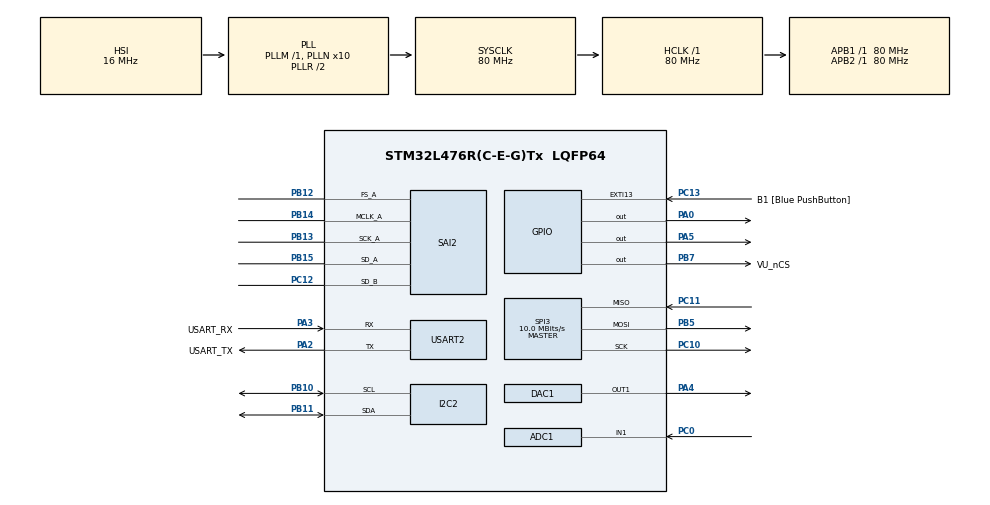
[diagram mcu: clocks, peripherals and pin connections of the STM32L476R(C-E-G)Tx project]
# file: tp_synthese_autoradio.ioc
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ADC1.Channel-0\#ChannelRegularConversion=ADC_CHANNEL_1
ADC1.NbrOfConversionFlag=1
ADC1.OffsetNumber-0\#ChannelRegularConversion=ADC_OFFSET_NONE
ADC1.Rank-0\#ChannelRegularConversion=1
ADC1.SamplingTime-0\#ChannelRegularConversion=ADC_SAMPLETIME_2CYCLES_5
ADC1.master=1
Dma.Request0=SAI2_A
Dma.Request1=SAI2_B
Dma.SAI2_A.0.Direction=DMA_MEMORY_TO_PERIPH
Dma.SAI2_A.0.Instance=DMA1_Channel6
Dma.SAI2_A.0.MemDataAlignment=DMA_MDATAALIGN_WORD
Dma.SAI2_A.0.MemInc=DMA_MINC_ENABLE
Dma.SAI2_A.0.Mode=DMA_CIRCULAR
Dma.SAI2_A.0.PeriphDataAlignment=DMA_PDATAALIGN_WORD
Dma.SAI2_A.0.PeriphInc=DMA_PINC_DISABLE
Dma.SAI2_A.0.Priority=DMA_PRIORITY_LOW
Dma.SAI2_B.1.Direction=DMA_PERIPH_TO_MEMORY
Dma.SAI2_B.1.Instance=DMA1_Channel7
Dma.SAI2_B.1.MemDataAlignment=DMA_MDATAALIGN_WORD
Dma.SAI2_B.1.MemInc=DMA_MINC_ENABLE
Dma.SAI2_B.1.Mode=DMA_CIRCULAR
Dma.SAI2_B.1.PeriphDataAlignment=DMA_PDATAALIGN_WORD
Dma.SAI2_B.1.PeriphInc=DMA_PINC_DISABLE
Dma.SAI2_B.1.Priority=DMA_PRIORITY_LOW
FREERTOS.Tasks01=defaultTask,0,128,StartDefaultTask,Default,NULL,Dynamic,NULL,NULL
FREERTOS.configTOTAL_HEAP_SIZE=20000
FREERTOS.configUSE_NEWLIB_REENTRANT=1
I2C2.Timing=0x10D19CE4
Mcu.Family=STM32L4
Mcu.Name=STM32L476R(C-E-G)Tx
Mcu.Package=LQFP64
NVIC.DMA1_Channel6_IRQn=true\:5\:0\:false\:false\:true\:true\:false\:true\:true
NVIC.DMA1_Channel7_IRQn=true\:5\:0\:false\:false\:true\:true\:false\:true\:true
NVIC.PriorityGroup=NVIC_PRIORITYGROUP_4
NVIC.SAI2_IRQn=true\:5\:0\:false\:false\:true\:true\:true\:true\:true
NVIC.TIM6_DAC_IRQn=true\:5\:0\:false\:false\:true\:true\:false\:true\:true
NVIC.TimeBase=TIM6_DAC_IRQn
NVIC.TimeBaseIP=TIM6
NVIC.USART2_IRQn=true\:5\:0\:false\:false\:true\:true\:true\:true\:true
PA0.Signal=GPIO_Output
PA13\ (JTMS-SWDIO).GPIO_Label=TMS
PA13\ (JTMS-SWDIO).Mode=Serial_Wire
PA13\ (JTMS-SWDIO).Signal=SYS_JTMS-SWDIO
PA14\ (JTCK-SWCLK).GPIO_Label=TCK
PA14\ (JTCK-SWCLK).Mode=Serial_Wire
PA14\ (JTCK-SWCLK).Signal=SYS_JTCK-SWCLK
PA2.GPIO_Label=USART_TX
PA2.GPIO_Mode=GPIO_MODE_AF_PP
PA2.GPIO_PuPd=GPIO_NOPULL
PA2.GPIO_Speed=GPIO_SPEED_FREQ_VERY_HIGH
PA2.Mode=Asynchronous
PA2.Signal=USART2_TX
PA3.GPIO_Label=USART_RX
PA3.GPIO_Mode=GPIO_MODE_AF_PP
PA3.GPIO_PuPd=GPIO_NOPULL
PA3.GPIO_Speed=GPIO_SPEED_FREQ_VERY_HIGH
PA3.Mode=Asynchronous
PA3.Signal=USART2_RX
PA4.Signal=COMP_DAC11_group
PA5.Signal=GPIO_Output
PB10.Mode=I2C
PB10.Signal=I2C2_SCL
PB11.Mode=I2C
PB11.Signal=I2C2_SDA
PB12.Mode=SAI_A_MasterWithClock
PB12.Signal=SAI2_FS_A
PB13.Mode=SAI_A_MasterWithClock
PB13.Signal=SAI2_SCK_A
PB14.Mode=SAI_A_MasterWithClock
PB14.Signal=SAI2_MCLK_A
PB15.Mode=SAI_A_MasterWithClock
PB15.Signal=SAI2_SD_A
PB3\ (JTDO-TRACESWO).GPIO_Label=SWO
PB3\ (JTDO-TRACESWO).Signal=SYS_JTDO-SWO
PB5.Mode=Full_Duplex_Master
PB5.Signal=SPI3_MOSI
PB7.GPIO_Label=VU_nCS
PB7.PinState=GPIO_PIN_SET
PB7.Signal=GPIO_Output
PC0.Signal=ADCx_IN1
PC10.Mode=Full_Duplex_Master
PC10.Signal=SPI3_SCK
PC11.Mode=Full_Duplex_Master
PC11.Signal=SPI3_MISO
PC12.Mode=SAI_B_SyncSlave
PC12.Signal=SAI2_SD_B
PC13.GPIO_Label=B1 [Blue PushButton]
PC13.GPIO_ModeDefaultEXTI=GPIO_MODE_IT_FALLING
PC13.GPIO_PuPd=GPIO_NOPULL
PC13.Signal=GPXTI13
PC14-OSC32_IN\ (PC14).Mode=LSE-External-Oscillator
PC14-OSC32_IN\ (PC14).Signal=RCC_OSC32_IN
PC15-OSC32_OUT\ (PC15).Mode=LSE-External-Oscillator
PC15-OSC32_OUT\ (PC15).Signal=RCC_OSC32_OUT
PH0-OSC_IN\ (PH0).Signal=RCC_OSC_IN
PH1-OSC_OUT\ (PH1).Signal=RCC_OSC_OUT
ProjectManager.HeapSize=0x200
ProjectManager.StackSize=0x400
ProjectManager.TargetToolchain=STM32CubeIDE
RCC.ADCFreq_Value=104000000
RCC.AHBFreq_Value=80000000
RCC.APB1Freq_Value=80000000
RCC.APB1TimFreq_Value=80000000
RCC.APB2Freq_Value=80000000
RCC.APB2TimFreq_Value=80000000
RCC.CortexFreq_Value=80000000
RCC.HCLKFreq_Value=80000000
RCC.HSE_VALUE=8000000
RCC.HSI_VALUE=16000000
RCC.MSI_VALUE=4000000
RCC.PLLN=10
RCC.PLLSAI1N=13
RCC.PLLSAI1P=RCC_PLLP_DIV17
RCC.PLLSourceVirtual=RCC_PLLSOURCE_HSI
RCC.PREFETCH_ENABLE=1
RCC.SYSCLKFreq_VALUE=80000000
RCC.SYSCLKSource=RCC_SYSCLKSOURCE_PLLCLK
RCC.USBFreq_Value=104000000
RCC.VCOOutputFreq_Value=160000000
SAI2.AudioFrequency-SAI_A_MasterWithClock=SAI_AUDIO_FREQUENCY_48K
SAI2.ErrorAudioFreq-SAI_A_MasterWithClock=-0.42 %
SAI2.InitProtocol-SAI_A_MasterWithClock=Enable
SAI2.InitProtocol-SAI_B_SyncSlave=Enable
SAI2.Instance-SAI_A_MasterWithClock=SAI$Index_Block_A
SAI2.Instance-SAI_B_SyncSlave=SAI$Index_Block_B
SAI2.MClockEnable-SAI_A_MasterWithClock=SAI_MASTERCLOCK_ENABLE
SAI2.RealAudioFreq-SAI_A_MasterWithClock=47.794 KHz
SAI2.VirtualMode-SAI_A_MasterWithClock=VM_MASTER
SAI2.VirtualMode-SAI_B_SyncSlave=VM_SLAVE
SAI2.VirtualProtocol-SAI_A_BASIC=VM_BASIC_PROTOCOL
SAI2.VirtualProtocol-SAI_B_BASIC=VM_BASIC_PROTOCOL
SH.ADCx_IN1.0=ADC1_IN1,IN1-Single-Ended
SH.COMP_DAC11_group.0=DAC1_OUT1,DAC_OUT1
SPI3.BaudRatePrescaler=SPI_BAUDRATEPRESCALER_8
SPI3.CalculateBaudRate=10.0 MBits/s
SPI3.DataSize=SPI_DATASIZE_8BIT
SPI3.Direction=SPI_DIRECTION_2LINES
SPI3.Mode=SPI_MODE_MASTER
SPI3.NSSPMode=SPI_NSS_PULSE_ENABLE
SPI3.VirtualType=VM_MASTER
USART2.VirtualMode-Asynchronous=VM_ASYNC
VP_FREERTOS_VS_CMSIS_V1.Mode=CMSIS_V1
VP_SAI2_VP_$IpInstance_SAIA_SAI_BASIC.Mode=SAI_A_BASIC
VP_SAI2_VP_$IpInstance_SAIB_SAI_BASIC.Mode=SAI_B_BASIC
VP_SYS_VS_tim6.Mode=TIM6
board=NUCLEO-L476RG

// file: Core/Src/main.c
/* USER CODE BEGIN Header */
/**
 ******************************************************************************
 * @file           : main.c
 * @brief          : Main program body
 ******************************************************************************
 * @attention
 *
 * Copyright (c) 2025 STMicroelectronics.
 * All rights reserved.
 *
 * This software is licensed under terms that can be found in the LICENSE file
 * in the root directory of this software component.
 * If no LICENSE file comes with this software, it is provided AS-IS.
 *
 ******************************************************************************
 */
/* USER CODE END Header */
#include "main.h"
#include "cmsis_os.h"
#include "adc.h"
#include "dac.h"
#include "dma.h"
#include "i2c.h"
#include "sai.h"
#include "spi.h"
#include "usart.h"
#include "gpio.h"

/* USER CODE BEGIN Includes */
#include <stdio.h>
#include <stdlib.h>
#include <string.h>
#include "shell.h"
#include "led.h"
#include "sgtl5000.h"
/* USER CODE END Includes */

void SystemClock_Config(void);
void PeriphCommonClock_Config(void);
void MX_FREERTOS_Init(void);

/* USER CODE BEGIN 0 */

int __io_putchar(int chr)
{
	HAL_UART_Transmit(&huart2, (uint8_t*) &chr, 1, HAL_MAX_DELAY);
	return chr;
}

uint8_t drv_uart_receive(h_shell_t *shell, char * pData, uint16_t size)
{
	HAL_UART_Receive_IT(&huart2, (uint8_t*)(pData), size);
	xSemaphoreTake(shell -> sem_shell_rx, portMAX_DELAY);
	return 0;
}

uint8_t drv_uart_transmit(char * pData, uint16_t size)
{
	HAL_UART_Transmit(&huart2, (uint8_t*)pData, size, HAL_MAX_DELAY);
	return size;
}

h_shell_t shell =
{
		.huart = &huart2,
		.drv_shell =
		{
				.drv_shell_receive = drv_uart_receive,
				.drv_shell_transmit = drv_uart_transmit
		}
};

h_mcp_led_t mcp_led =
{
		.hspi = &hspi3
};

int fonction(h_shell_t *shell, int argc, char ** argv)
{
	printf("Je suis une fonction bidon\r\n");

	printf("argc = %d\r\n", argc);	//nb de caractere

	for (int i = 0; i < argc; i++)
	{
		printf("argv[%d] = %s\r\n", i, argv[i]);	//pointeur de table de caractere
	}
	return 0;
}

int shell_led(h_shell_t *shell, int argc, char ** argv)
{
	if (argc != 3)
	{
		printf("usage : l GPIOx 0xAA (bit 1 means led OFF and bit 0 means led ON)\r\n");
		return 0;
	}

	MCP_GPIO gpio;

	if (strcmp(argv[1], "GPIOA") == 0) gpio = MCP_GPIOA;
	else if (strcmp(argv[1], "GPIOB") == 0) gpio = MCP_GPIOB;
	else
	{
		printf("GPIO invalid : GPIOA or GPIOB\r\n");
		return 0;
	}

	uint8_t cmd = strtol(argv[2], NULL, 16);

	printf("test : %02x\r\n", cmd);
	transmit_LED(&mcp_led, gpio, cmd);

	return 0;
}

int shell_toggle_led(h_shell_t *shell, int argc, char ** argv)
{
	if (argc != 3)
	{
		printf("usage : L GPIOx LED1\r\n");
		return 0;
	}

	MCP_GPIO gpio;

	if (strcmp(argv[1], "GPIOA") == 0) gpio = MCP_GPIOA;
	else if (strcmp(argv[1], "GPIOB") == 0) gpio = MCP_GPIOB;
	else
	{
		printf("GPIO invalid : GPIOA or GPIOB\r\n");
		return 0;
	}

	MCP_LED led = 0xff;

	if (strcmp(argv[2], "LED1") == 0) led = LED1;
	else if (strcmp(argv[2], "LED2") == 0) led = LED2;
	else if (strcmp(argv[2], "LED3") == 0) led = LED3;
	else if (strcmp(argv[2], "LED4") == 0) led = LED4;
	else if (strcmp(argv[2], "LED5") == 0) led = LED5;
	else if (strcmp(argv[2], "LED6") == 0) led = LED6;
	else if (strcmp(argv[2], "LED7") == 0) led = LED7;
	else if (strcmp(argv[2], "LED8") == 0) led = LED8;
	else
	{
		printf("LED invalid : LEDx 1 to 8\r\n");
		return 0;
	}

	toggle_LED(&mcp_led, gpio, led);

	return 0;
}

void HAL_UART_RxCpltCallback(UART_HandleTypeDef *huart)
{
	if (huart->Instance == USART2)
	{
		shell_uart_rx_callback(&shell);
	}

}

void task_shell (void * unused)
{
	shell_init(&shell);
	shell_add(&shell, 'f', fonction, "Une fonction inutile");
	shell_add(&shell, 'l', shell_led, "Commande les LED");
	shell_add(&shell, 'L', shell_toggle_led, "Commande les LED");
	shell_run(&shell);
}

void task_spi_led (void * unused)
{
	uint8_t led_value[8] = {0x01, 0x02, 0x04, 0x08, 0x10, 0x20, 0x40, 0x80};
	int led_index = 0;
	printf("SPI LED task started\r\n");

	MCP_Init(&mcp_led);

	// Allumer toutes les LED GPIOA
	transmit_LED(&mcp_led, MCP_GPIOA, 0x00);
	// Allume toutes les LED GPIOB
	transmit_LED(&mcp_led, MCP_GPIOB, 0x00);

	while (1)
	{
		// CHENILLLE SUr les LED GPIOA
		led_index++;
		if (led_index == 8)
			led_index = 0;

		transmit_LED(&mcp_led, MCP_GPIOA, ~led_value[led_index]);
		vTaskDelay(500);
	}
}

h_sgtl5000_t sgtl5000 =
{
		.hi2c = &hi2c2,
		.hsai_tx = &hsai_BlockA2,
		.hsai_rx = &hsai_BlockB2,
		.dev_address = 0x14
};

void HAL_SAI_RxCpltCallback(SAI_HandleTypeDef *hsai)
{
    if (hsai->Instance == SAI2_Block_B)
    {
        for (int i = 0; i < AUDIO_BUFFER_LENGTH * AUDIO_NUM_CHANNELS * 2; i++)
        {
            sgtl5000.sai_tx_buffer[i] = sgtl5000.sai_rx_buffer[i];
        }
    }
}

void task_codec(void * unused)
{
	//	sgtl_get_id();
	//	sgtl_configure();

	sgtl5000_init(&sgtl5000);
	printf("SGTL5000 configured\r\n");

	/* 3.4 Génération du signal triangulaire */
	//	sgtl5000_generate_triangle(&sgtl5000);
	//	sgtl5000_transmit(&sgtl5000);

	sgtl5000_start(&sgtl5000);

	for (;;)
	{
		vTaskDelay(2000);
	}
}

/* USER CODE END 0 */

int main(void)
{

	/* MCU Configuration--------------------------------------------------------*/

	/* Reset of all peripherals, Initializes the Flash interface and the Systick. */
	HAL_Init();

	/* Configure the system clock */
	SystemClock_Config();

	/* Configure the peripherals common clocks */
	PeriphCommonClock_Config();

	/* Initialize all configured peripherals */
	MX_GPIO_Init();
	MX_DMA_Init();
	MX_USART2_UART_Init();
	MX_SPI3_Init();
	MX_I2C2_Init();
	MX_SAI2_Init();
	MX_ADC1_Init();
	MX_DAC1_Init();
	/* USER CODE BEGIN 2 */

	printf("\r\n =========> TP SYNTHESE AUTO RADIO <======== \r\n");

	__HAL_SAI_ENABLE(&hsai_BlockA2);

	if (xTaskCreate(task_shell, "shell", 512, NULL, 1, NULL) != pdPASS)
	{
		printf("ERROR\r\n");
		Error_Handler();
	}

	if (xTaskCreate(task_spi_led, "spi_led", 512, NULL, 2, NULL) != pdPASS)
	{
		printf("ERROR\r\n");
		Error_Handler();
	}

	if (xTaskCreate(task_codec, "CODEC", 512, NULL, 3, NULL) != pdPASS)
	{
		printf("ERROR\r\n");
		Error_Handler();
	}

	vTaskStartScheduler();

	/* USER CODE END 2 */

	/* Call init function for freertos objects (in cmsis_os2.c) */
	MX_FREERTOS_Init();

	/* Start scheduler */
	osKernelStart();

	/* We should never get here as control is now taken by the scheduler */

	/* Infinite loop */
	while (1)
	{

	}
}

void SystemClock_Config(void)
{
	RCC_OscInitTypeDef RCC_OscInitStruct = {0};
	RCC_ClkInitTypeDef RCC_ClkInitStruct = {0};

	/** Configure the main internal regulator output voltage
	 */
	if (HAL_PWREx_ControlVoltageScaling(PWR_REGULATOR_VOLTAGE_SCALE1) != HAL_OK)
	{
		Error_Handler();
	}

	/** Initializes the RCC Oscillators according to the specified parameters
	 * in the RCC_OscInitTypeDef structure.
	 */
	RCC_OscInitStruct.OscillatorType = RCC_OSCILLATORTYPE_HSI;
	RCC_OscInitStruct.HSIState = RCC_HSI_ON;
	RCC_OscInitStruct.HSICalibrationValue = RCC_HSICALIBRATION_DEFAULT;
	RCC_OscInitStruct.PLL.PLLState = RCC_PLL_ON;
	RCC_OscInitStruct.PLL.PLLSource = RCC_PLLSOURCE_HSI;
	RCC_OscInitStruct.PLL.PLLM = 1;
	RCC_OscInitStruct.PLL.PLLN = 10;
	RCC_OscInitStruct.PLL.PLLP = RCC_PLLP_DIV7;
	RCC_OscInitStruct.PLL.PLLQ = RCC_PLLQ_DIV2;
	RCC_OscInitStruct.PLL.PLLR = RCC_PLLR_DIV2;
	if (HAL_RCC_OscConfig(&RCC_OscInitStruct) != HAL_OK)
	{
		Error_Handler();
	}

	/** Initializes the CPU, AHB and APB buses clocks
	 */
	RCC_ClkInitStruct.ClockType = RCC_CLOCKTYPE_HCLK|RCC_CLOCKTYPE_SYSCLK
			|RCC_CLOCKTYPE_PCLK1|RCC_CLOCKTYPE_PCLK2;
	RCC_ClkInitStruct.SYSCLKSource = RCC_SYSCLKSOURCE_PLLCLK;
	RCC_ClkInitStruct.AHBCLKDivider = RCC_SYSCLK_DIV1;
	RCC_ClkInitStruct.APB1CLKDivider = RCC_HCLK_DIV1;
	RCC_ClkInitStruct.APB2CLKDivider = RCC_HCLK_DIV1;

	if (HAL_RCC_ClockConfig(&RCC_ClkInitStruct, FLASH_LATENCY_4) != HAL_OK)
	{
		Error_Handler();
	}
}

void PeriphCommonClock_Config(void)
{
	RCC_PeriphCLKInitTypeDef PeriphClkInit = {0};

	/** Initializes the peripherals clock
	 */
	PeriphClkInit.PeriphClockSelection = RCC_PERIPHCLK_SAI2|RCC_PERIPHCLK_ADC;
	PeriphClkInit.Sai2ClockSelection = RCC_SAI2CLKSOURCE_PLLSAI1;
	PeriphClkInit.AdcClockSelection = RCC_ADCCLKSOURCE_PLLSAI1;
	PeriphClkInit.PLLSAI1.PLLSAI1Source = RCC_PLLSOURCE_HSI;
	PeriphClkInit.PLLSAI1.PLLSAI1M = 1;
	PeriphClkInit.PLLSAI1.PLLSAI1N = 13;
	PeriphClkInit.PLLSAI1.PLLSAI1P = RCC_PLLP_DIV17;
	PeriphClkInit.PLLSAI1.PLLSAI1Q = RCC_PLLQ_DIV2;
	PeriphClkInit.PLLSAI1.PLLSAI1R = RCC_PLLR_DIV2;
	PeriphClkInit.PLLSAI1.PLLSAI1ClockOut = RCC_PLLSAI1_SAI1CLK|RCC_PLLSAI1_ADC1CLK;
	if (HAL_RCCEx_PeriphCLKConfig(&PeriphClkInit) != HAL_OK)
	{
		Error_Handler();
	}
}

void HAL_TIM_PeriodElapsedCallback(TIM_HandleTypeDef *htim)
{
	if (htim->Instance == TIM6)
	{
		HAL_IncTick();
	}
}

void Error_Handler(void)
{
	__disable_irq();
	while (1)
	{
	}
}
